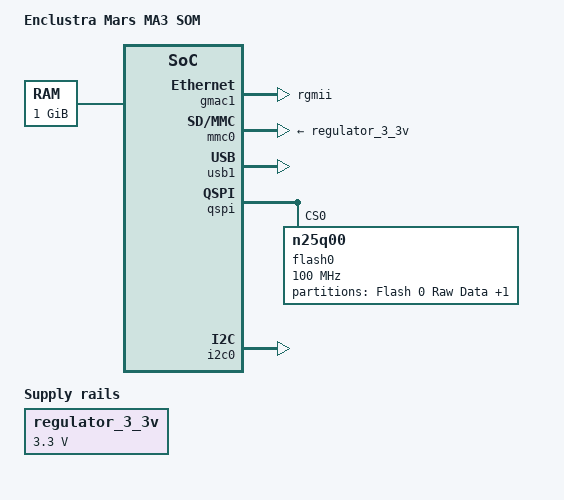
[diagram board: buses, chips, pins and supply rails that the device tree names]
/*
 *  Copyright (C) 2013 Steffen Trumtrar <s.trumtrar@pengutronix.de>
 *
 * This program is free software; you can redistribute it and/or modify
 * it under the terms of the GNU General Public License as published by
 * the Free Software Foundation; either version 2 of the License, or
 * (at your option) any later version.
 *
 * This program is distributed in the hope that it will be useful,
 * but WITHOUT ANY WARRANTY; without even the implied warranty of
 * MERCHANTABILITY or FITNESS FOR A PARTICULAR PURPOSE.  See the
 * GNU General Public License for more details.
 *
 * You should have received a copy of the GNU General Public License
 * along with this program.  If not, see <http://www.gnu.org/licenses/>.
 */

#include "socfpga_mercury_sa1.dtsi"

/ {
	model = "Enclustra Mars MA3 SOM";
	compatible = "altr,socfpga-cyclone5", "altr,socfpga";

	chosen {
		bootargs = "console=ttyS0,115200";
	};

	memory {
		name = "memory";
		device_type = "memory";
		reg = <0x0 0x40000000>; /* 1GB */
	};

	aliases {
		/* this allow the ethaddr uboot environmnet variable contents
		 * to be added to the gmac1 device tree blob.
		 */
		ethernet0 = &gmac1;
	};

	regulator_3_3v: vcc3p3-regulator {
		compatible = "regulator-fixed";
		regulator-name = "VCC3P3";
		regulator-min-microvolt = <3300000>;
		regulator-max-microvolt = <3300000>;
	};
};

&gmac1 {
	status = "okay";
	phy-mode = "rgmii";

	rxd0-skew-ps = <60>;
	rxd1-skew-ps = <60>;
	rxd2-skew-ps = <0>;
	rxd3-skew-ps = <60>;
	txen-skew-ps = <0>;
	txc-skew-ps = <1800>;
	rxdv-skew-ps = <0>;
	rxc-skew-ps = <1800>;
};

&mmc0 {
	vmmc-supply = <&regulator_3_3v>;
	vqmmc-supply = <&regulator_3_3v>;
};

&usb1 {
	status = "okay";
};

&qspi {
	status = "okay";

	flash0: n25q00@0 {
		#address-cells = <1>;
		#size-cells = <1>;
		compatible = "n25q00";
		reg = <0>;
		spi-max-frequency = <100000000>;
		cdns,page-size = <256>;
		cdns,block-size = <16>;
		m25p,fast-read;
		cdns,read-delay = <4>;
		cdns,tshsl-ns = <50>;
		cdns,tsd2d-ns = <50>;
		cdns,tchsh-ns = <4>;
		cdns,tslch-ns = <4>;

		part0: partition@0 {
			label = "Flash 0 Raw Data";
			reg = < 0x00000000 0x01000000 >;
		};

		part1: partition@800000 {
			label = "Flash 1 jffs2 Filesystem";
			reg = < 0x01000000 0x03000000 >;
		};
	};
};

&i2c0 {
	status = "okay";
};
